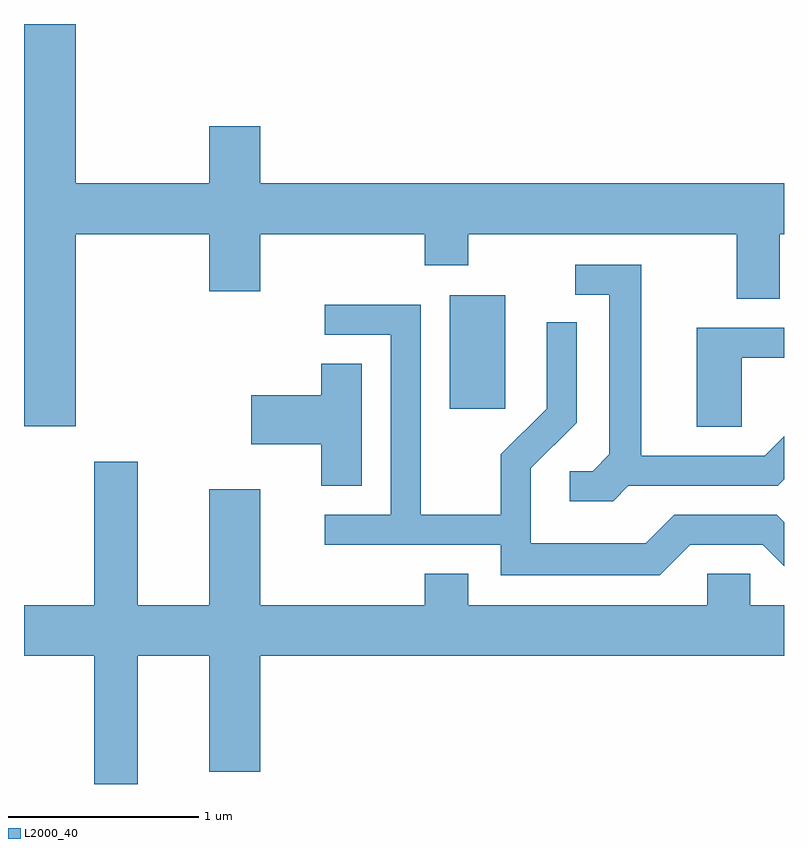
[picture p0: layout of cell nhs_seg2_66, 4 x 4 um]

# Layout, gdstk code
import gdstk
lib = gdstk.Library(unit=1e-6, precision=1e-09)
def R(c, l, rs):  # rectangles x0, y0, x1, y1
    for r in rs: c.add(gdstk.rectangle(r[:2], r[2:], *l))
def P(c, l, *ps):  # polygons
    for p in ps: c.add(gdstk.Polygon(p, *l))
L2000_40 = (2000, 40)

nhs_seg2_66 = lib.new_cell('nhs_seg2_66')
R(nhs_seg2_66, L2000_40, [(187.851,1111.776,188.144,1112.374)])
P(nhs_seg2_66, L2000_40, [(185.884,1112.696),(186.586,1112.696),(186.586,1112.396),(186.854,1112.396),(186.854,1112.696),(187.721,1112.696),(187.721,1112.531),(187.949,1112.531),(187.949,1112.696),(189.361,1112.696),(189.361,1112.356),(189.589,1112.356),(189.589,1112.696),(189.611,1112.696),(189.611,1112.964),(186.854,1112.964),(186.854,1113.264),(186.586,1113.264),(186.586,1112.964),(185.884,1112.964),(185.884,1113.802),(185.611,1113.802),(185.611,1111.686),(185.884,1111.686)],
  [(188.792,1111.371),(189.577,1111.371),(189.611,1111.405),(189.611,1111.632),(189.509,1111.529),(188.859,1111.529),(188.859,1112.534),(188.513,1112.534),(188.513,1112.376),(188.691,1112.376),(188.691,1111.537),(188.604,1111.449),(188.483,1111.449),(188.483,1111.291),(188.712,1111.291)],
  [(189.117,1111.061),(189.499,1111.061),(189.611,1110.949),(189.611,1111.18),(189.572,1111.219),(189.034,1111.219),(188.884,1111.069),(188.279,1111.069),(188.279,1111.464),(188.519,1111.704),(188.519,1112.233),(188.361,1112.233),(188.361,1111.777),(188.121,1111.537),(188.121,1111.219),(187.699,1111.219),(187.699,1112.324),(187.193,1112.324),(187.193,1112.166),(187.541,1112.166),(187.541,1111.219),(187.193,1111.219),(187.193,1111.061),(188.121,1111.061),(188.121,1110.901),(188.957,1110.901)],
  [(189.389,1112.046),(189.611,1112.046),(189.611,1112.204),(189.151,1112.204),(189.151,1111.681),(189.389,1111.681)],
  [(187.389,1112.014),(187.176,1112.014),(187.176,1111.849),(186.806,1111.849),(186.806,1111.591),(187.176,1111.591),(187.176,1111.371),(187.389,1111.371)],
  [(186.209,1110.476),(186.586,1110.476),(186.586,1109.866),(186.854,1109.866),(186.854,1110.476),(189.611,1110.476),(189.611,1110.744),(189.434,1110.744),(189.434,1110.909),(189.206,1110.909),(189.206,1110.744),(187.949,1110.744),(187.949,1110.909),(187.721,1110.909),(187.721,1110.744),(186.854,1110.744),(186.854,1111.354),(186.586,1111.354),(186.586,1110.744),(186.209,1110.744),(186.209,1111.499),(185.981,1111.499),(185.981,1110.744),(185.611,1110.744),(185.611,1110.476),(185.981,1110.476),(185.981,1109.802),(186.209,1109.802)])

lib.write_gds('nhs_seg2_66.gds')
